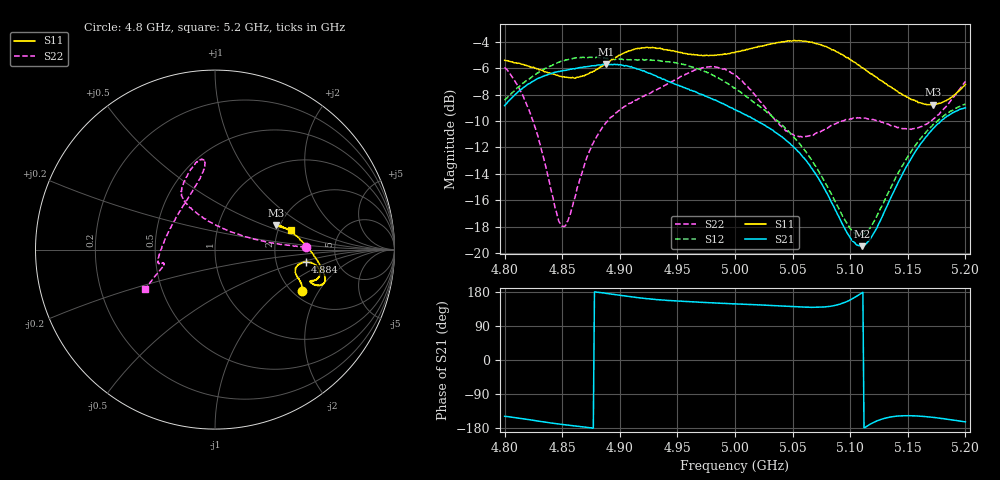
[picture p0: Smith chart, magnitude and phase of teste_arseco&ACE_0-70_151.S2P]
! Network Analyzer HP8722D
! Hewlett-Packard
! Data name: Linha & Wilkinson
! Saver's name: Rodrigo Anjos
! Comments: Teste da utilização de aquisição
! continua pelo VNA HP8722D
! Time and date: 8/5/2025 14:01
!  Frequency  S11  S21  S12  S22
# HZ  S  MA R 50
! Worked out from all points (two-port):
!   401 points, 4.8 GHz to 5.2 GHz, reference 50 ohm
!   highest |S21| = -5.70 dB at 4.888 GHz (marker M1); lowest = -19.5 dB at 5.11 GHz (marker M2)
!   |S21| within 3 dB of the highest: 4.801 GHz to 4.99 GHz (188.8 MHz wide, 3.86 % of centre)
!   lowest |S11| = -8.8 dB at 5.172 GHz (marker M3), VSWR 2.15, Z = 95 + j29.8 ohm
!   |S11| at or under -10 dB: nowhere
!   |S22| runs from -18.0 to -5.9 dB; largest |S21 - S12| = 1.1
!   S11 on the Smith chart (normalised r, x): 4.8 GHz: 2.23, -1.45; 4.884 GHz: 2.96, -0.55; 5.2 GHz: 2.33, +0.64
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4.8e9  0.537 -25.5  0.3617 -148.5  0.3791 10.9  0.5048 1.5
4.812e9  0.5241 -22.4  0.4092 -153.4  0.4246 9.0  0.4261 2.7
4.823e9  0.507 -20.5  0.4432 -158.3  0.4621 7.7  0.331 6.1
4.849e9  0.4667 -16.1  0.4893 -169.7  0.5329 3.6  0.1278 57.3
4.855e9  0.4625 -14.6  0.4944 -172.0  0.5404 2.5  0.1323 84.4
4.867e9  0.4668 -11.0  0.5046 -176.2  0.5502 0.7  0.1997 112.7
4.884e9  0.5089 -7.7  0.5157 177.6  0.5474 -0.4  0.2952 121.6
4.888e9  0.5211 -7.6  0.519 175.8  0.5465 -0.6  0.3123 122.3
4.912e9  0.59 -10.7  0.5032 165.8  0.5392 -0.2  0.3725 120.0
4.934e9  0.5964 -15.5  0.4623 158.9  0.5362 -1.1  0.4204 113.7
4.973e9  0.5605 -18.2  0.3959 151.8  0.489 -4.6  0.5061 100.2
5e9  0.5761 -19.3  0.3492 148.0  0.4224 -4.9  0.4722 96.9
5.017e9  0.6003 -19.4  0.3206 146.0  0.3706 -2.5  0.3986 103.0
5.044e9  0.6334 -17.5  0.268 141.7  0.2957 3.2  0.2899 131.2
5.067e9  0.6292 -13.4  0.2085 139.0  0.2237 9.5  0.2806 164.6
5.098e9  0.55 -2.8  0.1179 155.8  0.1279 36.6  0.3207 -170.5
5.11e9  0.5034 2.6  0.1062 176.8  0.117 60.4  0.3248 -166.9
5.119e9  0.4764 7.0  0.1159 -166.8  0.128 77.6  0.3202 -166.0
5.134e9  0.4286 14.4  0.1575 -151.0  0.1724 94.7  0.3059 -165.5
5.154e9  0.3807 20.8  0.2323 -147.3  0.2468 101.9  0.2957 -164.1
5.172e9  0.3646 21.9  0.2958 -151.5  0.3068 102.8  0.3212 -160.0
5.2e9  0.4355 14.7  0.3547 -163.3  0.3675 103.3  0.4469 -150.4
